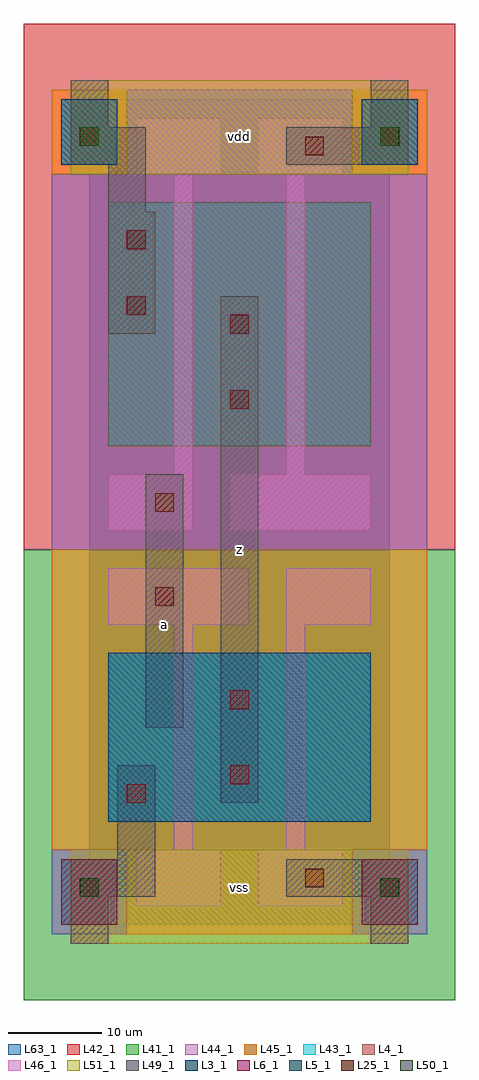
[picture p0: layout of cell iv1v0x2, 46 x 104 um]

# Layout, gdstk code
import gdstk
lib = gdstk.Library(unit=1e-6, precision=1e-09)
def R(c, l, rs):  # rectangles x0, y0, x1, y1
    for r in rs: c.add(gdstk.rectangle(r[:2], r[2:], *l))
L3_1 = (3, 1)
L4_1 = (4, 1)
L5_1 = (5, 1)
L6_1 = (6, 1)
L25_1 = (25, 1)
L41_1 = (41, 1)
L42_1 = (42, 1)
L43_1 = (43, 1)
L44_1 = (44, 1)
L45_1 = (45, 1)
L46_1 = (46, 1)
L49_1 = (49, 1)
L50_1 = (50, 1)
L51_1 = (51, 1)
L63_1 = (63, 1)

iv1v0x2 = lib.new_cell('iv1v0x2')
R(iv1v0x2, L3_1, [(2,11,30,29)])
R(iv1v0x2, L4_1, [(2,51,30,77)])
R(iv1v0x2, L5_1, [(-3,81,3,88), (29,81,35,88)])
R(iv1v0x2, L6_1, [(-3,0,3,7), (-3,0,3,7), (29,0,35,7), (29,0,35,7)])
R(iv1v0x2, L25_1, [(-1,3,1,5), (31,3,33,5), (23,4,25,6), (4,13,6,15), (15,15,17,17), (15,23,17,25), (7,34,9,36), (7,44,9,46), (15,55,17,57), (15,63,17,65), (4,65,6,67), (4,72,6,74), (23,82,25,84), (-1,83,1,85), (31,83,33,85)])
R(iv1v0x2, L41_1, [(-7,-8,39,40)])
R(iv1v0x2, L42_1, [(-7,40,39,96)])
R(iv1v0x2, L43_1, [(-3,0,3,7), (29,0,35,7), (2,11,30,29), (2,51,30,77), (-3,81,3,88), (29,81,35,88)])
R(iv1v0x2, L44_1, [(-4,-1,4,8), (28,-1,36,8), (-4,40,36,80), (4,80,28,89)])
R(iv1v0x2, L45_1, [(4,-1,28,8), (-4,8,36,40), (-4,80,4,89), (28,80,36,89)])
R(iv1v0x2, L46_1, [(5,2,14,8), (18,2,27,8), (9,8,11,32), (21,8,23,32), (2,32,17,38), (21,32,30,38), (2,42,11,48), (15,42,30,48), (9,48,11,80), (21,48,23,80), (5,80,14,86), (18,80,27,86)])
R(iv1v0x2, L49_1, [(-2,-2,2,3), (30,-2,34,3), (-2,3,7,7), (21,3,34,7), (3,7,7,17), (14,13,18,67), (6,21,10,48), (2,63,7,76), (2,76,6,81), (-2,81,6,85), (21,81,34,85), (-2,85,2,90), (30,85,34,90)])
R(iv1v0x2, L50_1, [(-1,3,1,5), (31,3,33,5), (-1,83,1,85), (31,83,33,85)])
R(iv1v0x2, L51_1, [(-2,-2,34,8), (-2,80,34,90)])
R(iv1v0x2, L63_1, [(0,0,32,88)])
iv1v0x2.add(gdstk.Label('a', (8,32), layer=49, texttype=1))
iv1v0x2.add(gdstk.Label('z', (16,40), layer=49, texttype=1))
iv1v0x2.add(gdstk.Label('vss', (16,4), layer=51, texttype=1))
iv1v0x2.add(gdstk.Label('vdd', (16,84), layer=51, texttype=1))

lib.write_gds('iv1v0x2.gds')
